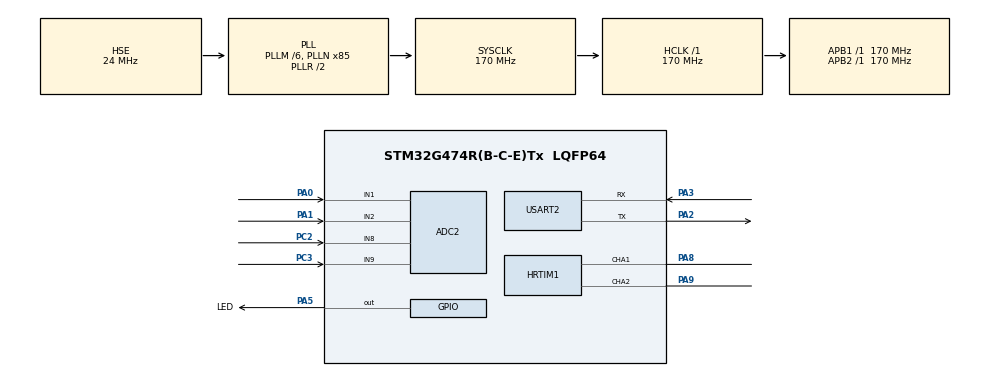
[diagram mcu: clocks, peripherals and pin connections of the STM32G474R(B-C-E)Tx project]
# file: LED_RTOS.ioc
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ADC2.Channel-0\#ChannelRegularConversion=ADC_CHANNEL_1
ADC2.Channel-1\#ChannelRegularConversion=ADC_CHANNEL_9
ADC2.Channel-2\#ChannelRegularConversion=ADC_CHANNEL_2
ADC2.Channel-3\#ChannelRegularConversion=ADC_CHANNEL_8
ADC2.ClockPrescaler=ADC_CLOCK_SYNC_PCLK_DIV4
ADC2.ContinuousConvMode=DISABLE
ADC2.DMAContinuousRequests=DISABLE
ADC2.DiscontinuousConvMode=DISABLE
ADC2.EOCSelection=ADC_EOC_SEQ_CONV
ADC2.ExternalTrigConv=ADC_EXTERNALTRIG_HRTIM_TRG1
ADC2.NbrOfConversion=4
ADC2.NbrOfConversionFlag=1
ADC2.Offset-0\#ChannelRegularConversion=0
ADC2.Offset-1\#ChannelRegularConversion=0
ADC2.Offset-2\#ChannelRegularConversion=300
ADC2.Offset-3\#ChannelRegularConversion=0
ADC2.OffsetNumber-0\#ChannelRegularConversion=ADC_OFFSET_NONE
ADC2.OffsetNumber-1\#ChannelRegularConversion=ADC_OFFSET_NONE
ADC2.OffsetNumber-2\#ChannelRegularConversion=ADC_OFFSET_NONE
ADC2.OffsetNumber-3\#ChannelRegularConversion=ADC_OFFSET_NONE
ADC2.OffsetSign-0\#ChannelRegularConversion=ADC_OFFSET_SIGN_POSITIVE
ADC2.OffsetSign-1\#ChannelRegularConversion=ADC_OFFSET_SIGN_POSITIVE
ADC2.OffsetSign-2\#ChannelRegularConversion=ADC_OFFSET_SIGN_POSITIVE
ADC2.OffsetSign-3\#ChannelRegularConversion=ADC_OFFSET_SIGN_POSITIVE
ADC2.Overrun=ADC_OVR_DATA_OVERWRITTEN
ADC2.OversamplingMode=ENABLE
ADC2.Rank-0\#ChannelRegularConversion=1
ADC2.Rank-1\#ChannelRegularConversion=2
ADC2.Rank-2\#ChannelRegularConversion=3
ADC2.Rank-3\#ChannelRegularConversion=4
ADC2.Ratio=ADC_OVERSAMPLING_RATIO_128
ADC2.RightBitShift=ADC_RIGHTBITSHIFT_7
ADC2.SamplingTime-0\#ChannelRegularConversion=ADC_SAMPLETIME_2CYCLES_5
ADC2.SamplingTime-1\#ChannelRegularConversion=ADC_SAMPLETIME_2CYCLES_5
ADC2.SamplingTime-2\#ChannelRegularConversion=ADC_SAMPLETIME_2CYCLES_5
ADC2.SamplingTime-3\#ChannelRegularConversion=ADC_SAMPLETIME_2CYCLES_5
Dma.ADC2.0.Direction=DMA_PERIPH_TO_MEMORY
Dma.ADC2.0.EventEnable=DISABLE
Dma.ADC2.0.Instance=DMA1_Channel1
Dma.ADC2.0.MemDataAlignment=DMA_MDATAALIGN_WORD
Dma.ADC2.0.MemInc=DMA_MINC_ENABLE
Dma.ADC2.0.Mode=DMA_NORMAL
Dma.ADC2.0.PeriphDataAlignment=DMA_PDATAALIGN_WORD
Dma.ADC2.0.PeriphInc=DMA_PINC_DISABLE
Dma.ADC2.0.Polarity=HAL_DMAMUX_REQ_GEN_RISING
Dma.ADC2.0.Priority=DMA_PRIORITY_HIGH
Dma.ADC2.0.RequestNumber=1
Dma.ADC2.0.SignalID=NONE
Dma.ADC2.0.SyncEnable=DISABLE
Dma.ADC2.0.SyncPolarity=HAL_DMAMUX_SYNC_NO_EVENT
Dma.ADC2.0.SyncRequestNumber=1
Dma.ADC2.0.SyncSignalID=NONE
Dma.Request0=ADC2
FREERTOS.Queues01=VinQueue,16,float,0,Dynamic,NULL,NULL;VoutQueue,16,float,0,Dynamic,NULL,NULL;dutyCycle,16,float,0,Dynamic,NULL,NULL
FREERTOS.Tasks01=defaultTask,0,128,StartDefaultTask,Default,NULL,Dynamic,NULL,NULL;SerialTask,0,256,serial_task,Default,NULL,Dynamic,NULL,NULL
FREERTOS.configUSE_NEWLIB_REENTRANT=1
HRTIM1.ADCTrigger1_Source1=HRTIM_ADCTRIGGEREVENT13_TIMERA_PERIOD
HRTIM1.ADCTrigger_Id1=HRTIM_ADCTRIGGER_1
HRTIM1.ADCTrigger_Id2=__NULL
HRTIM1.CompareUnit1-Output_TA1TA2=HRTIM_COMPAREUNIT_1
HRTIM1.CompareUnit3-Output_TA1TA2=__NULL
HRTIM1.CompareValue1-Output_TA1TA2=27200
HRTIM1.NumberADCTriggerSource1=1
HRTIM1.NumberResetSource1-Output_TA1TA2=HRTIM_OUTPUTSET_TIMCMP1
HRTIM1.NumberResetSource2_TA=HRTIM_OUTPUTSET_TIMCMP1
HRTIM1.NumberSetSource1-Output_TA1TA2=HRTIM_OUTPUTSET_TIMPER
HRTIM1.NumberSetSource2_TA=HRTIM_OUTPUTSET_TIMPER
HRTIM1.Periode_TA=54400
HRTIM1.postscaler1=100
Mcu.Family=STM32G4
Mcu.Name=STM32G474R(B-C-E)Tx
Mcu.Package=LQFP64
NVIC.ADC1_2_IRQn=true\:5\:0\:false\:false\:true\:true\:true\:true\:true
NVIC.DMA1_Channel1_IRQn=true\:5\:0\:false\:false\:true\:true\:false\:true\:true
NVIC.PriorityGroup=NVIC_PRIORITYGROUP_4
NVIC.TIM1_UP_TIM16_IRQn=true\:15\:0\:false\:false\:true\:false\:false\:true\:true
NVIC.TimeBase=TIM1_UP_TIM16_IRQn
NVIC.TimeBaseIP=TIM1
PA0.Mode=IN1-Single-Ended
PA0.Signal=ADC2_IN1
PA1.Mode=IN2-Single-Ended
PA1.Signal=ADC2_IN2
PA2.Mode=Asynchronous
PA2.Signal=USART2_TX
PA3.Mode=Asynchronous
PA3.Signal=USART2_RX
PA5.GPIO_Label=LED
PA5.Signal=GPIO_Output
PA8.Mode=Output_TA1TA2
PA8.Signal=HRTIM1_CHA1
PA9.Mode=Output_TA1TA2
PA9.Signal=HRTIM1_CHA2
PC2.Mode=IN8-Single-Ended
PC2.Signal=ADC2_IN8
PC3.Mode=IN9-Single-Ended
PC3.Signal=ADC2_IN9
PF0-OSC_IN.Mode=HSE-External-Oscillator
PF0-OSC_IN.Signal=RCC_OSC_IN
PF1-OSC_OUT.Mode=HSE-External-Oscillator
PF1-OSC_OUT.Signal=RCC_OSC_OUT
ProjectManager.HeapSize=0x200
ProjectManager.StackSize=0x400
ProjectManager.TargetToolchain=STM32CubeIDE
RCC.ADC12Freq_Value=170000000
RCC.ADC345Freq_Value=170000000
RCC.AHBFreq_Value=170000000
RCC.APB1Freq_Value=170000000
RCC.APB1TimFreq_Value=170000000
RCC.APB2Freq_Value=170000000
RCC.APB2TimFreq_Value=170000000
RCC.CortexFreq_Value=170000000
RCC.EXTERNAL_CLOCK_VALUE=12288000
RCC.HCLKFreq_Value=170000000
RCC.HSE_VALUE=24000000
RCC.HSI48_VALUE=48000000
RCC.HSI_VALUE=16000000
RCC.LSE_VALUE=32768
RCC.PLLM=RCC_PLLM_DIV6
RCC.PLLN=85
RCC.PLLSourceVirtual=RCC_PLLSOURCE_HSE
RCC.SYSCLKFreq_VALUE=170000000
RCC.SYSCLKSource=RCC_SYSCLKSOURCE_PLLCLK
RCC.USBFreq_Value=170000000
RCC.VCOOutputFreq_Value=340000000
SYS.VoltageScaling=SYSCFG_VREFBUF_VOLTAGE_SCALE1
USART2.VirtualMode-Asynchronous=VM_ASYNC
VP_FREERTOS_VS_CMSIS_V1.Mode=CMSIS_V1
VP_SYS_VS_DBSignals.Mode=DisableDeadBatterySignals
VP_SYS_VS_tim1.Mode=TIM1
VREF+.Mode=InternalMode
VREF+.Signal=VREFBUF_OUT
board=custom

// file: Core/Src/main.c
/* USER CODE BEGIN Header */
/**
  ******************************************************************************
  * @file           : main.c
  * @brief          : Main program body
  ******************************************************************************
  * @attention
  *
  * Copyright (c) 2024 STMicroelectronics.
  * All rights reserved.
  *
  * This software is licensed under terms that can be found in the LICENSE file
  * in the root directory of this software component.
  * If no LICENSE file comes with this software, it is provided AS-IS.
  *
  ******************************************************************************
  */
/* USER CODE END Header */
#include "main.h"
#include "cmsis_os.h"
#include "adc.h"
#include "dma.h"
#include "hrtim.h"
#include "usart.h"
#include "gpio.h"

/* USER CODE BEGIN PV */
extern uint8_t adcFlag;
extern uint32_t adcValue[4];

/* USER CODE END PV */

void SystemClock_Config(void);
void MX_FREERTOS_Init(void);
/* USER CODE BEGIN PFP */
//void HAL_ADC_ConvCpltCallback(ADC_HandleTypeDef *hadc);
/* USER CODE END PFP */

int main(void)
{

  /* MCU Configuration--------------------------------------------------------*/

  /* Reset of all peripherals, Initializes the Flash interface and the Systick. */
  HAL_Init();

  /* Configure the system clock */
  SystemClock_Config();

  /* Initialize all configured peripherals */
  MX_GPIO_Init();
  MX_DMA_Init();
  MX_USART2_UART_Init();
  MX_ADC2_Init();
  MX_HRTIM1_Init();

  /* Call init function for freertos objects (in cmsis_os2.c) */
  MX_FREERTOS_Init();

  /* Start scheduler */
  osKernelStart();

  /* We should never get here as control is now taken by the scheduler */

  /* Infinite loop */
  while (1)
  {

  }
}

void SystemClock_Config(void)
{
  RCC_OscInitTypeDef RCC_OscInitStruct = {0};
  RCC_ClkInitTypeDef RCC_ClkInitStruct = {0};

  /** Configure the main internal regulator output voltage
  */
  HAL_PWREx_ControlVoltageScaling(PWR_REGULATOR_VOLTAGE_SCALE1_BOOST);

  /** Initializes the RCC Oscillators according to the specified parameters
  * in the RCC_OscInitTypeDef structure.
  */
  RCC_OscInitStruct.OscillatorType = RCC_OSCILLATORTYPE_HSE;
  RCC_OscInitStruct.HSEState = RCC_HSE_ON;
  RCC_OscInitStruct.PLL.PLLState = RCC_PLL_ON;
  RCC_OscInitStruct.PLL.PLLSource = RCC_PLLSOURCE_HSE;
  RCC_OscInitStruct.PLL.PLLM = RCC_PLLM_DIV6;
  RCC_OscInitStruct.PLL.PLLN = 85;
  RCC_OscInitStruct.PLL.PLLP = RCC_PLLP_DIV2;
  RCC_OscInitStruct.PLL.PLLQ = RCC_PLLQ_DIV2;
  RCC_OscInitStruct.PLL.PLLR = RCC_PLLR_DIV2;
  if (HAL_RCC_OscConfig(&RCC_OscInitStruct) != HAL_OK)
  {
    Error_Handler();
  }

  /** Initializes the CPU, AHB and APB buses clocks
  */
  RCC_ClkInitStruct.ClockType = RCC_CLOCKTYPE_HCLK|RCC_CLOCKTYPE_SYSCLK
                              |RCC_CLOCKTYPE_PCLK1|RCC_CLOCKTYPE_PCLK2;
  RCC_ClkInitStruct.SYSCLKSource = RCC_SYSCLKSOURCE_PLLCLK;
  RCC_ClkInitStruct.AHBCLKDivider = RCC_SYSCLK_DIV1;
  RCC_ClkInitStruct.APB1CLKDivider = RCC_HCLK_DIV1;
  RCC_ClkInitStruct.APB2CLKDivider = RCC_HCLK_DIV1;

  if (HAL_RCC_ClockConfig(&RCC_ClkInitStruct, FLASH_LATENCY_4) != HAL_OK)
  {
    Error_Handler();
  }
}

/* USER CODE BEGIN 4 */
void HAL_ADC_ConvCpltCallback(ADC_HandleTypeDef *hadc)
{
	HAL_ADC_Stop_DMA(hadc);
	if(!adcFlag) adcFlag = 1;
	HAL_GPIO_WritePin(LED_GPIO_Port, LED_Pin, GPIO_PIN_SET);
	HAL_ADC_Start_DMA(&hadc2, adcValue, 4);
}

/* USER CODE END 4 */

void HAL_TIM_PeriodElapsedCallback(TIM_HandleTypeDef *htim)
{
  if (htim->Instance == TIM1) {
    HAL_IncTick();
  }
}

void Error_Handler(void)
{
  __disable_irq();
  while (1)
  {
  }
}

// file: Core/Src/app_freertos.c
/* USER CODE BEGIN Header */
/**
  ******************************************************************************
  * File Name          : app_freertos.c
  * Description        : Code for freertos applications
  ******************************************************************************
  * @attention
  *
  * Copyright (c) 2024 STMicroelectronics.
  * All rights reserved.
  *
  * This software is licensed under terms that can be found in the LICENSE file
  * in the root directory of this software component.
  * If no LICENSE file comes with this software, it is provided AS-IS.
  *
  ******************************************************************************
  */
/* USER CODE END Header */

#include "FreeRTOS.h"
#include "task.h"
#include "main.h"
#include "cmsis_os.h"

/* USER CODE BEGIN Includes */
#include "controllers.h"
#include "math.h"
#include "stdio.h"
#include "stdint.h"

  /*
   * ### Observations ###
   * Output voltage not responding to PWM control
   *
   * ###Possibility of solution
   * 1- osdelay(100) should be osdelay(1)
   *
   * Increase buffer size and use halfcplt callback
   *No offset & oversampling done on hardware / Offset compensation will  be done now after full  conver
   *Conversion on software to prevent from interaction noises btw channels
   *hard oversampling is done  to ensure stability of the measurement and offset is removed  on software in the functions readVoltage
   * */

  /*
   * ### Change log ###
   * Added delay to Get_ADC_Value function
   * Configured ADC to reference voltage of 2.048
   * Disabled ADC internal reference
   * Configured ADC internal reference to 2.5V
   * Configured ADC to use DMA
   * Increased ADC sample cycles to increase accuracy
   * ADC value converted
   * Closed loop control integrated
   * */

/* USER CODE END Includes */

/* USER CODE BEGIN Variables */
extern ADC_HandleTypeDef hadc2;
extern UART_HandleTypeDef huart2;
extern HRTIM_HandleTypeDef hhrtim1;
ADC_ChannelConfTypeDef adcConfig = {0};
char buffer[64];
uint8_t adcFlag = 0;
uint32_t adcValue[4];
uint32_t adcValueTemp = 0;
float temp1,temp2,Vin,Iin,Vout,Iout;
float ovRef = 9.0 ;
float ovMeasure ;
float DutyCycle = 0.33;
float OvSampler;
PIController PI_voltage;
int cpt ;

/* USER CODE END Variables */
osThreadId defaultTaskHandle;
osThreadId SerialTaskHandle;
osMessageQId VinQueueHandle;
osMessageQId VoutQueueHandle;
osMessageQId dutyCycleHandle;

/* USER CODE BEGIN FunctionPrototypes */
uint32_t Get_ADC_Value(ADC_HandleTypeDef *hadc, uint32_t channel, uint32_t rank);
void PowerPWMSet(uint32_t frequency, float dutycycle);
float realTemp(uint32_t dig);
float realVoltageOUT(uint32_t dig);
float realVoltageIN(uint32_t dig);
float realCurrent(uint32_t dig);

/* USER CODE END FunctionPrototypes */

void StartDefaultTask(void const * argument);
void serial_task(void const * argument);

void MX_FREERTOS_Init(void); /* (MISRA C 2004 rule 8.1) */

void MX_FREERTOS_Init(void) {
  /* USER CODE BEGIN Init */

	/* Calibrating ADCs for better accuracy */
	HAL_ADCEx_Calibration_Start(&hadc2, ADC_SINGLE_ENDED);

	HAL_ADC_Start_DMA(&hadc2, adcValue, 4);
	//HAL_ADC_Start(&hadc2);

	//HAL_ADC_StartSampling(&hadc2);

	/* Turn on PWM output */
	HAL_HRTIM_WaveformOutputStart(&hhrtim1, HRTIM_OUTPUT_TA1 | HRTIM_OUTPUT_TA2);

	/* Start counter */
	HAL_HRTIM_WaveformCountStart(&hhrtim1, HRTIM_TIMERID_TIMER_A);

	  //HAL_HRTIM_WaveformOutputStop(&hhrtim1, HRTIM_OUTPUT_TA1 + HRTIM_OUTPUT_TA2);
	PowerPWMSet(100000,(1-0.05));//Function created to ease duty cycle modification

	ConfigPIController(&PI_voltage,0.0017f,(0.0017f/0.5f),0.8f,0.1f,1000.0);

	 HAL_GPIO_WritePin(LED_GPIO_Port, LED_Pin, GPIO_PIN_RESET);

  /* USER CODE END Init */

  /* Create the queue(s) */
  /* definition and creation of VinQueue */
  osMessageQDef(VinQueue, 16, float);
  VinQueueHandle = osMessageCreate(osMessageQ(VinQueue), NULL);

  /* definition and creation of VoutQueue */
  osMessageQDef(VoutQueue, 16, float);
  VoutQueueHandle = osMessageCreate(osMessageQ(VoutQueue), NULL);

  /* definition and creation of dutyCycle */
  osMessageQDef(dutyCycle, 16, float);
  dutyCycleHandle = osMessageCreate(osMessageQ(dutyCycle), NULL);

  /* Create the thread(s) */
  /* definition and creation of defaultTask */
  osThreadDef(defaultTask, StartDefaultTask, osPriorityNormal, 0, 128);
  defaultTaskHandle = osThreadCreate(osThread(defaultTask), NULL);

  /* definition and creation of SerialTask */
  osThreadDef(SerialTask, serial_task, osPriorityNormal, 0, 256);
  SerialTaskHandle = osThreadCreate(osThread(SerialTask), NULL);

}

void StartDefaultTask(void const * argument)
{
  /* USER CODE BEGIN StartDefaultTask */

  /* Infinite loop */
  for(;;)
  {
//    HAL_GPIO_WritePin(LED_GPIO_Port, LED_Pin, GPIO_PIN_SET);
	//HAL_ADC_StartSampling(&hadc2);

	//HAL_ADC_StartSampling(&hadc2);

	/* Get the ADC values */
	//taskENTER_CRITICAL();

	/*// ADC Channel 1
	//for(int i=0;i<10;i++)
	  //{
	adcValue[0] = Get_ADC_Value(&hadc2, ADC_CHANNEL_1, ADC_REGULAR_RANK_1);

	// ADC Channel 2
	adcValue[1] = Get_ADC_Value(&hadc2, ADC_CHANNEL_2, ADC_REGULAR_RANK_1);

	// ADC Channel 8
	adcValue[2] = Get_ADC_Value(&hadc2, ADC_CHANNEL_8, ADC_REGULAR_RANK_1);

	// ADC Channel 9
	adcValue[3] = Get_ADC_Value(&hadc2, ADC_CHANNEL_9, ADC_REGULAR_RANK_1);

	HAL_ADC_Stop(&hadc2);*/
	//osDelay(100);

	// HAL_ADC_Start(&hadc1);
	//HAL_ADC_PollForConversion(&hadc1, 10);
	//HAL_ADC_StopSampling(&hadc2);

	//taskENTER_CRITICAL();

	  if(adcFlag)
	  {
		  adcFlag = 0;
		  HAL_GPIO_WritePin(LED_GPIO_Port, LED_Pin, GPIO_PIN_RESET);
	  }
	Vin = realVoltageIN((float)adcValue[0]);
	Vout =realVoltageOUT((float)adcValue[1]);

	//taskEXIT_CRITICAL();

	if(Vout<50.0)
	  {
		  //Close loop :
			//1 -  Set output voltage

			//2 - Measure output voltage
			   ovMeasure = fabs(Vout);
			// 3 - Calculte Error = Set - Meas & new dc
			   DutyCycle = RunPIController(&PI_voltage, (ovRef-ovMeasure));
			//4 -update pwm
			 //HAL_HRTIM_WaveformOutputStart(&hhrtim1, HRTIM_OUTPUT_TA1 | HRTIM_OUTPUT_TA2);
			 PowerPWMSet(100000,(1-DutyCycle));

	  }
	  else
	  {
		  //HAL_HRTIM_WaveformOutputStop(&hhrtim1, HRTIM_OUTPUT_TA1 + HRTIM_OUTPUT_TA2);
	    DutyCycle = 0.05;
		PowerPWMSet(100000, 1-DutyCycle);
	  }

	//snprintf(buffer, 64, "CH1:%d, CH2:%d, CH3:%d, CH4:%d \r\n", adcValue[0], adcValue[1], adcValue[2], adcValue[3]);

	//taskEXIT_CRITICAL();

    osDelay(1);
  }
  /* USER CODE END StartDefaultTask */
}

void serial_task(void const * argument)
{
  /* USER CODE BEGIN serial_task */
  /* Infinite loop */
  for(;;)
  {

	 snprintf(buffer, 64, "Vin:%.2f, Vout:%.2f, Duty Cycle:%.2f\r\n", Vin, Vout, DutyCycle);

	 HAL_UART_Transmit(&huart2,buffer, 64, 500);

    osDelay(1000);
  }
  /* USER CODE END serial_task */
}

/* USER CODE BEGIN Application */

uint32_t Get_ADC_Value(ADC_HandleTypeDef *hadc, uint32_t channel, uint32_t rank)
{
    ADC_ChannelConfTypeDef sConfig = {0};

    // Configure the selected ADC channel
    sConfig.Channel = channel;
    sConfig.Rank = rank;
    sConfig.SamplingTime = ADC_SAMPLETIME_12CYCLES_5; // Adjust sampling time as needed
    sConfig.SingleDiff = ADC_SINGLE_ENDED;
    sConfig.OffsetNumber = ADC_OFFSET_1  ;  // No offset applied
    sConfig.OffsetSign = ADC_OFFSET_NONE;
    sConfig.Offset = 0;                      // No offset applied

    /*if (HAL_ADC_ConfigChannel(hadc, &sConfig) != HAL_OK)
    {
        // Configuration error
        Error_Handler();
    }*/

    // Start the ADC conversion
    if (HAL_ADC_Start(hadc) != HAL_OK)
    {
        // Start error
        Error_Handler();
    }

    // Wait for the conversion to complete
    if (HAL_ADC_PollForConversion(hadc, 1) != HAL_OK)
    {
        // Polling error
        Error_Handler();
    }

    // Get the ADC value
    uint32_t adcValue = HAL_ADC_GetValue(hadc);

    osDelay(100);

    // Stop the ADC conversion
    // HAL_ADC_Stop(hadc);

    // Return the ADC value
    return adcValue;
}

//This function convert the digital value converted by adc in temperature
float realTemp(uint32_t dig)
{
	float raw = ((float)dig/4095.0f)*2.048f;//Digital to analog reconversion
	raw = raw*1000.0f;
	float R , T ;
	float T0 = (273.15f + 25.0f);
	float R0 = 10000.0f;
	float B = 3450.0f;
	R = ( (raw*20000.0f)/(3300.0f - raw) );
	T =  B/( log(R) - log(R0) + (B/T0));
	return (T - 273.15f);
}

//This function convert digital value by adc in voltage
float realVoltageIN(uint32_t dig)
{
    float raw = ((float)dig / 4095.0f) * 2.5f;
    return ((raw - 1.020f) * 89.7606f) + 10.3f;
}

float realVoltageOUT(uint32_t dig)
{
    float raw = ((float)dig / 4095.0f) * 2.5f;
    return ((raw - 1.017f) * 89.7606f) + 7.8f;
}

//This function convert digital value by adc in current
float realCurrent(uint32_t dig)
{
	float raw = ((float)dig / 4095.0f) * 2.048f; // Digital to analog reconversion
	float real = (float)(raw - 1000.0f) / 50.0f;
	return (real/1000.0f);
}

//This function makes a direct DAC without consideration of acq chain conditioning
float rawVoltage(uint32_t dig)
{
	float raw = ((float)dig / 4095.0f) * 2.5f; // Digital to analog reconversion
	return raw;
}

/* USER CODE END Application */
